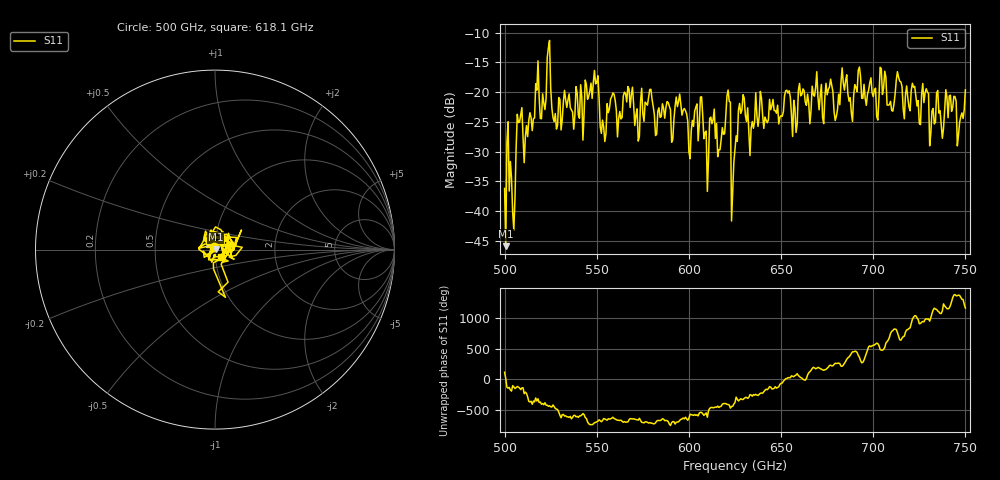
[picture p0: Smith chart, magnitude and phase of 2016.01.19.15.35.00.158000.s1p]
!Created with skrf (http://scikit-rf.org).
# GHz S RI R 50.0
!freq ReS11 ImS11
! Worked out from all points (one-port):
!   401 points, 500 GHz to 750 GHz, reference 50 ohm
!   lowest |S11| = -45.9 dB at 500.6 GHz (marker M1), VSWR 1.01, Z = 50.5 + j0.0678 ohm
!   |S11| at or under -10 dB: start of sweep to end of sweep
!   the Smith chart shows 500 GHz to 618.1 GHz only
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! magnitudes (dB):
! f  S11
! 500 GHz  -36.2
! 500.6 GHz  -45.9
! 505 GHz  -43.2
! 508.1 GHz  -25.0
! 511.2 GHz  -27.5
! 523.8 GHz  -12.5
! 527.5 GHz  -23.6
! 531.2 GHz  -24.6
! 549.4 GHz  -18.6
! 553.1 GHz  -24.7
! 558.8 GHz  -20.1
! 562.5 GHz  -23.2
! 593.8 GHz  -22.4
! 601.2 GHz  -26.5
! 607.5 GHz  -23.9
! 609.4 GHz  -26.5
! 621.2 GHz  -19.6
! 623.8 GHz  -36.9
! 625 GHz  -29.5
! 628.8 GHz  -23.0
! 633.8 GHz  -26.1
! 656.2 GHz  -27.4
! 680 GHz  -24.0
! 684.4 GHz  -19.6
! 687.5 GHz  -20.9
! 718.8 GHz  -20.9
! 746.9 GHz  -25.1
! 750 GHz  -19.6
